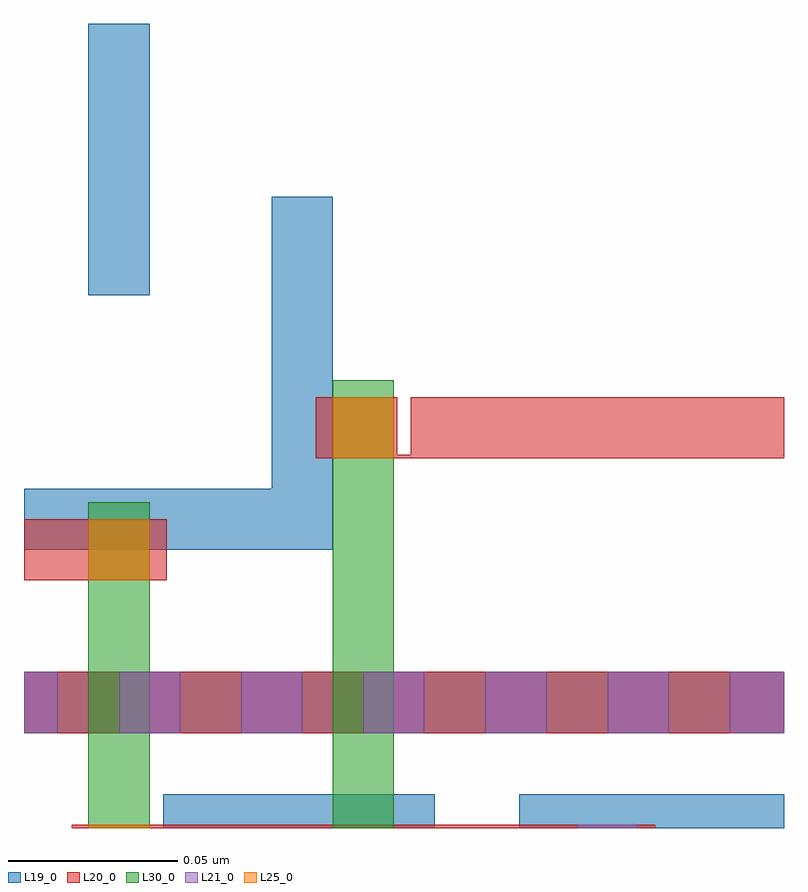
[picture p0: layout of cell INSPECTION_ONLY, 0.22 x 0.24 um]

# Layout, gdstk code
import gdstk
lib = gdstk.Library(unit=1e-6, precision=2.5e-10)
def R(c, l, rs):  # rectangles x0, y0, x1, y1
    for r in rs: c.add(gdstk.rectangle(r[:2], r[2:], *l))
def A(c, l, x, y, w, h, nx, ny, dx, dy):  # array of equal rectangles
    R(c, l, [(x+i*dx, y+j*dy, x+i*dx+w, y+j*dy+h) for i in range(nx) for j in range(ny)])
def P(c, l, *ps):  # polygons
    for p in ps: c.add(gdstk.Polygon(p, *l))
L19_0 = (19, 0)
L20_0 = (20, 0)
L21_0 = (21, 0)
L25_0 = (25, 0)
L30_0 = (30, 0)

inspection_only = lib.new_cell('INSPECTION_ONLY')
R(inspection_only, L19_0, [(5.386,9.413,5.466,9.423), (5.491,9.413,5.569,9.423), (5.508,9.413,5.526,9.416), (5.345,9.441,5.569,9.459), (5.345,9.441,5.569,9.459), (5.345,9.441,5.346,9.459), (5.345,9.441,5.562,9.459), (5.346,9.441,5.569,9.459), (5.562,9.441,5.569,9.459), (5.364,9.57,5.382,9.65)])
P(inspection_only, L19_0, [(5.345,9.495),(5.345,9.513),(5.418,9.513),(5.418,9.599),(5.436,9.599),(5.436,9.495)])
R(inspection_only, L20_0, [(5.359,9.413,5.531,9.414), (5.345,9.441,5.569,9.459), (5.345,9.486,5.387,9.504)])
P(inspection_only, L20_0, [(5.431,9.522),(5.431,9.54),(5.455,9.54),(5.455,9.523),(5.459,9.523),(5.459,9.54),(5.569,9.54),(5.569,9.522)])
A(inspection_only, L21_0, 5.373, 9.441, 0.018, 0.018, 5, 1, 0.036, 0)
R(inspection_only, L21_0, [(5.508,9.413,5.526,9.414), (5.345,9.441,5.355,9.459), (5.553,9.441,5.569,9.459)])
R(inspection_only, L25_0, [(5.364,9.413,5.382,9.414), (5.364,9.486,5.382,9.504), (5.436,9.522,5.454,9.54)])
R(inspection_only, L30_0, [(5.364,9.413,5.382,9.509), (5.436,9.413,5.454,9.545)])

lib.write_gds('INSPECTION_ONLY.gds')
